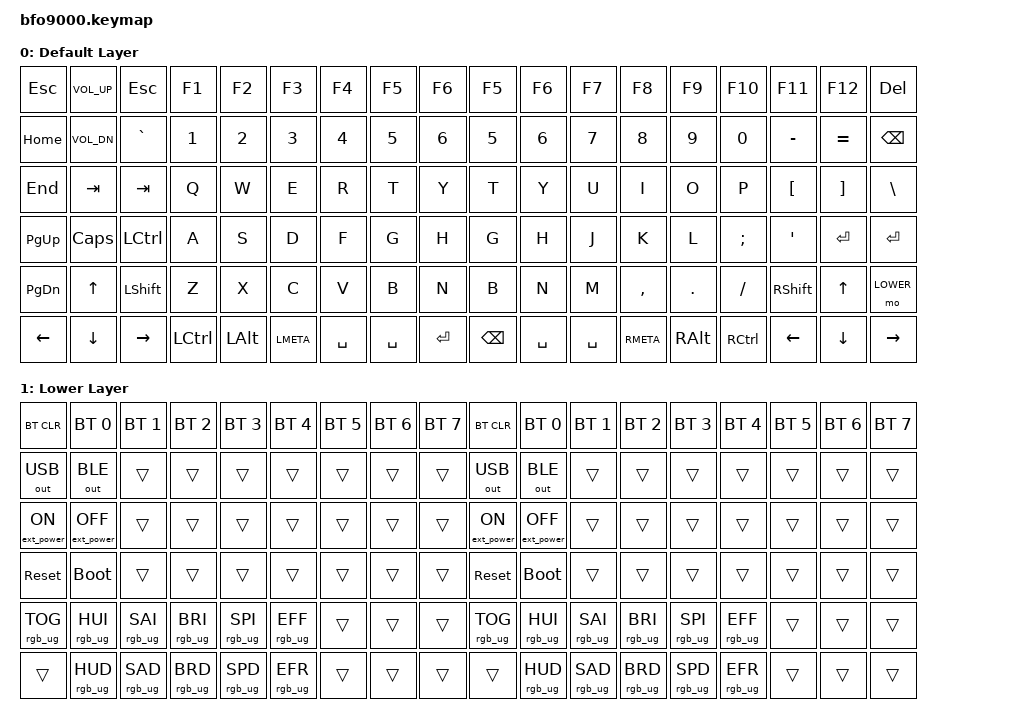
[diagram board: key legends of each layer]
/*
 * Copyright (c) 2020 The ZMK Contributors
 *
 * SPDX-License-Identifier: MIT
 */

#include <behaviors.dtsi>
#include <physical_layouts.dtsi>
#include <dt-bindings/zmk/keys.h>
#include <dt-bindings/zmk/bt.h>
#include <dt-bindings/zmk/outputs.h>
#include <dt-bindings/zmk/ext_power.h>
#include <dt-bindings/zmk/rgb.h>

#define DEFAULT 0
#define LOWER   1


/ {
    pro_micro: connector {
        compatible = "arduino-pro-micro";
        #gpio-cells = <2>;
        gpio-map-mask = <0xffffffff 0xffffffc0>;
        gpio-map-pass-thru = <0 0x3f>;
        gpio-map
            = <0 0 &gpio0 26 0>      /* D0 */ /* <0 0 &gpio0 8 0> */
            , <1 0 &gpio0 22 0>      /* D1 */ /* <1 0 &gpio0 6 0> */
            , <2 0 &gpio1 0 0>     /* D2 */ /* <2 0 &gpio0 15 0> */
            , <3 0 &gpio1 2 0>     /* D3 */ /* <3 0 &gpio0 17 0> */
            , <4 0 &gpio1 4 0>     /* D4/A6 */ /* <4 0 &gpio0 20 0> */
            , <5 0 &gpio0 13 0>     /* D5 */ 
            , <6 0 &gpio0 24 0>     /* D6/A7 */
            , <7 0 &gpio0 9 0>      /* D7 */
            , <8 0 &gpio1 10 0>     /* D8/A8 */ /* <8 0 &gpio0 10 0> */
            , <9 0 &gpio1 6 0>      /* D9/A9 */
            , <10 0 &gpio1 11 0>    /* D10/A10 */
            , <16 0 &gpio0 28 0>    /* D16 */
            , <14 0 &gpio0 3 0> /* D14 */
            , <15 0 &gpio1 13 0>    /* D15 */
            , <18 0 &gpio0 2 0> /* D18/A0 */
            , <19 0 &gpio0 29 0>    /* D19/A1 */
            , <20 0 &gpio0 31 0>    /* D20/A2 */
            , <21 0 &gpio0 30 0>    /* D21/A3 */
            ;
    };

    bfo9000_layout: bfo9000_layout {
        compatible = "zmk,physical-layout";
        display-name = "Full (with pinky)";

        keys  //                     w   h    x    y     rot    rx    ry
            = <&key_physical_attrs 100 100    0  150       0     0     0>
            , <&key_physical_attrs 100 100  100   75       0     0     0>
            , <&key_physical_attrs 100 100  200   62       0     0     0>
            , <&key_physical_attrs 100 100  300   25       0     0     0>
            , <&key_physical_attrs 100 100  400    0       0     0     0>
            , <&key_physical_attrs 100 100  500   25       0     0     0>
            , <&key_physical_attrs 100 100  600   37       0     0     0>
            , <&key_physical_attrs 100 100 1000   37       0     0     0>
            , <&key_physical_attrs 100 100 1100   25       0     0     0>
            , <&key_physical_attrs 100 100 1200    0       0     0     0>
            , <&key_physical_attrs 100 100 1300   25       0     0     0>
            , <&key_physical_attrs 100 100 1400   62       0     0     0>
            , <&key_physical_attrs 100 100 1500   75       0     0     0>
            , <&key_physical_attrs 100 100 1600  150       0     0     0>
            , <&key_physical_attrs 100 100  100  175       0     0     0>
            , <&key_physical_attrs 100 100  200  162       0     0     0>
            , <&key_physical_attrs 100 100  300  125       0     0     0>
            , <&key_physical_attrs 100 100  400  100       0     0     0>
            , <&key_physical_attrs 100 100  500  125       0     0     0>
            , <&key_physical_attrs 100 100  600  137       0     0     0>
            , <&key_physical_attrs 100 100 1000  137       0     0     0>
            , <&key_physical_attrs 100 100 1100  125       0     0     0>
            , <&key_physical_attrs 100 100 1200  100       0     0     0>
            , <&key_physical_attrs 100 100 1300  125       0     0     0>
            , <&key_physical_attrs 100 100 1400  162       0     0     0>
            , <&key_physical_attrs 100 100 1500  175       0     0     0>
            , <&key_physical_attrs 100 100  100  275       0     0     0>
            , <&key_physical_attrs 100 100  200  262       0     0     0>
            , <&key_physical_attrs 100 100  300  225       0     0     0>
            , <&key_physical_attrs 100 100  400  200       0     0     0>
            , <&key_physical_attrs 100 100  500  225       0     0     0>
            , <&key_physical_attrs 100 100  600  237       0     0     0>
            , <&key_physical_attrs 100 100 1000  237       0     0     0>
            , <&key_physical_attrs 100 100 1100  225       0     0     0>
            , <&key_physical_attrs 100 100 1200  200       0     0     0>
            , <&key_physical_attrs 100 100 1300  225       0     0     0>
            , <&key_physical_attrs 100 100 1400  262       0     0     0>
            , <&key_physical_attrs 100 100 1500  275       0     0     0>
            , <&key_physical_attrs 100 100  500  325       0     0     0>
            , <&key_physical_attrs 100 100  600  337       0     0     0>
            , <&key_physical_attrs 100 100  700  350       0     0     0>
            , <&key_physical_attrs 100 100  900  350       0     0     0>
            , <&key_physical_attrs 100 100 1000  337       0     0     0>
            , <&key_physical_attrs 100 100 1100  325       0     0     0>
        ;
    };

    layouts_bfo9000_position_map: layouts_bfo9000_position_map {
        compatible = "zmk,physical-layout-position-map";

        complete;
    };

    chosen {
        zmk,kscan = &kscan0;
        zmk,physical-layout = &bfo9000_layout;
    };

    keymap {
        compatible = "zmk,keymap";

        default_layer {
            display-name = "Default Layer";
            // | Esc   | Vol Up | Esc   | F1   | F2  | F3  | F4  | F5  | F6    | F5     | F6  | F7  | F8  | F9  | F10  | F11   | F12   | Del    |
            // | Home  | Vol Dn | `     | 1    | 2   | 3   | 4   | 5   | 6     | 5      | 6   | 7   | 8   | 9   | 0    | -     | =     | Bk Spc |
            // | End   | Tab    | Tab   | Q    | W   | E   | R   | T   | Y     | T      | Y   | U   | I   | O   | P    | [     | ]     | \      |
            // | Pg Up | Caps   | Ctrl  | A    | S   | D   | F   | G   | H     | G      | H   | J   | K   | L   | ;    | '     | Enter | Enter  |
            // | Pg Dn | Up     | Shift | Z    | X   | C   | V   | B   | N     | B      | N   | M   | ,   | .   | /    | Shift | Up    |        |
            // | Left  | Dn     | Right | Ctrl | Alt | Win | Spc | Spc | Enter | Bk Spc | Spc | Spc | Win | Alt | Ctrl | Left  | Dn    | Right  |
            bindings = <
            &kp ESC   &kp C_VOL_UP &kp ESC   &kp F1    &kp F2   &kp F3    &kp F4    &kp F5    &kp F6    &kp F5     &kp F6    &kp F7    &kp F8    &kp F9   &kp F10   &kp F11   &kp F12   &kp DEL
            &kp HOME  &kp C_VOL_DN &kp GRAVE &kp N1    &kp N2   &kp N3    &kp N4    &kp N5    &kp N6    &kp N5     &kp N6    &kp N7    &kp N8    &kp N9   &kp N0    &kp MINUS &kp EQUAL &kp BSPC
            &kp END   &kp TAB      &kp TAB   &kp Q     &kp W    &kp E     &kp R     &kp T     &kp Y     &kp T      &kp Y     &kp U     &kp I     &kp O    &kp P     &kp LBKT  &kp RBKT  &kp BSLH
            &kp PG_UP &kp CAPS     &kp LCTRL &kp A     &kp S    &kp D     &kp F     &kp G     &kp H     &kp G      &kp H     &kp J     &kp K     &kp L    &kp SEMI  &kp APOS  &kp ENTER &kp ENTER
            &kp PG_DN &kp UP       &kp LSHFT &kp Z     &kp X    &kp C     &kp V     &kp B     &kp N     &kp B      &kp N     &kp M     &kp COMMA &kp DOT  &kp SLASH &kp RSHFT &kp UP    &mo LOWER
            &kp LEFT  &kp DOWN     &kp RIGHT &kp LCTRL &kp LALT &kp LMETA &kp SPACE &kp SPACE &kp ENTER &kp BSPC   &kp SPACE &kp SPACE &kp RMETA &kp RALT &kp RCTRL &kp LEFT  &kp DOWN  &kp RIGHT
            >;
        };

        lower_layer {
            display-name = "Lower Layer";
            // | | | | | | | | | | | | | | | | | | |
            // | | | | | | | | | | | | | | | | | | |
            // | | | | | | | | | | | | | | | | | | |
            // | | | | | | | | | | | | | | | | | | |
            // | | | | | | | | | | | | | | | | | | |
            // | | | | | | | | | | | | | | | | | | |
            bindings = <
            &bt BT_CLR       &bt BT_SEL 0      &bt BT_SEL 1    &bt BT_SEL 2    &bt BT_SEL 3    &bt BT_SEL 4    &bt BT_SEL 5 &bt BT_SEL 6 &bt BT_SEL 7 &bt BT_CLR       &bt BT_SEL 0      &bt BT_SEL 1    &bt BT_SEL 2    &bt BT_SEL 3    &bt BT_SEL 4    &bt BT_SEL 5 &bt BT_SEL 6 &bt BT_SEL 7
            &out OUT_USB     &out OUT_BLE      &trans          &trans          &trans          &trans          &trans       &trans       &trans       &out OUT_USB     &out OUT_BLE      &trans          &trans          &trans          &trans          &trans       &trans       &trans
            &ext_power EP_ON &ext_power EP_OFF &trans          &trans          &trans          &trans          &trans       &trans       &trans       &ext_power EP_ON &ext_power EP_OFF &trans          &trans          &trans          &trans          &trans       &trans       &trans
            &sys_reset           &bootloader       &trans          &trans          &trans          &trans          &trans       &trans       &trans       &sys_reset           &bootloader       &trans          &trans          &trans          &trans          &trans       &trans       &trans
            &rgb_ug RGB_TOG  &rgb_ug RGB_HUI   &rgb_ug RGB_SAI &rgb_ug RGB_BRI &rgb_ug RGB_SPI &rgb_ug RGB_EFF &trans       &trans       &trans       &rgb_ug RGB_TOG  &rgb_ug RGB_HUI   &rgb_ug RGB_SAI &rgb_ug RGB_BRI &rgb_ug RGB_SPI &rgb_ug RGB_EFF &trans       &trans       &trans
            &trans           &rgb_ug RGB_HUD   &rgb_ug RGB_SAD &rgb_ug RGB_BRD &rgb_ug RGB_SPD &rgb_ug RGB_EFR &trans       &trans       &trans       &trans           &rgb_ug RGB_HUD   &rgb_ug RGB_SAD &rgb_ug RGB_BRD &rgb_ug RGB_SPD &rgb_ug RGB_EFR &trans       &trans       &trans
            >;
        };
    };
};

&bfo9000_layout {
    transform = <&default_transform>;
};

&layouts_bfo9000_position_map {
    bfo9000_posmap: full {
        physical-layout = <&bfo9000_layout>;
        positions
            = < 0  1  2  3  4  5  6        7  8  9 10 11 12 13>
            , <   14 15 16 17 18 19       20 21 22 23 24 25   >
            , <   26 27 28 29 30 31       32 33 34 35 36 37   >
            , <               38 39 40 41 42 43               >;
    };
};
